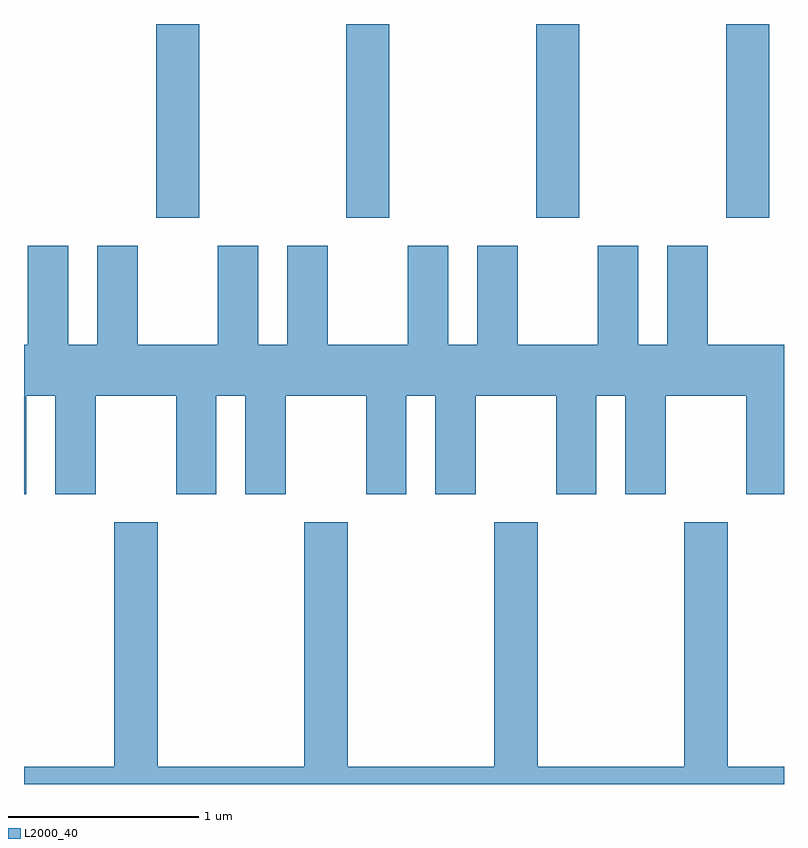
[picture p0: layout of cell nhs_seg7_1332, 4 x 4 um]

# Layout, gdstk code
import gdstk
lib = gdstk.Library(unit=1e-6, precision=1e-09)
def R(c, l, rs):  # rectangles x0, y0, x1, y1
    for r in rs: c.add(gdstk.rectangle(r[:2], r[2:], *l))
def A(c, l, x, y, w, h, nx, ny, dx, dy):  # array of equal rectangles
    R(c, l, [(x+i*dx, y+j*dy, x+i*dx+w, y+j*dy+h) for i in range(nx) for j in range(ny)])
def P(c, l, *ps):  # polygons
    for p in ps: c.add(gdstk.Polygon(p, *l))
L2000_40 = (2000, 40)

nhs_seg7_1332 = lib.new_cell('nhs_seg7_1332')
A(nhs_seg7_1332, L2000_40, 226.306, 1735.231, 0.228, 1.021, 4, 1, 1, 0)
P(nhs_seg7_1332, L2000_40, [(225.624,1734.296),(225.776,1734.296),(225.776,1733.776),(225.989,1733.776),(225.989,1734.296),(226.411,1734.296),(226.411,1733.776),(226.624,1733.776),(226.624,1734.296),(226.776,1734.296),(226.776,1733.776),(226.989,1733.776),(226.989,1734.296),(227.411,1734.296),(227.411,1733.776),(227.624,1733.776),(227.624,1734.296),(227.776,1734.296),(227.776,1733.776),(227.989,1733.776),(227.989,1734.296),(228.411,1734.296),(228.411,1733.776),(228.624,1733.776),(228.624,1734.296),(228.776,1734.296),(228.776,1733.776),(228.989,1733.776),(228.989,1734.296),(229.411,1734.296),(229.411,1733.776),(229.611,1733.776),(229.611,1734.564),(229.209,1734.564),(229.209,1735.084),(228.996,1735.084),(228.996,1734.564),(228.844,1734.564),(228.844,1735.084),(228.631,1735.084),(228.631,1734.564),(228.209,1734.564),(228.209,1735.084),(227.996,1735.084),(227.996,1734.564),(227.844,1734.564),(227.844,1735.084),(227.631,1735.084),(227.631,1734.564),(227.209,1734.564),(227.209,1735.084),(226.996,1735.084),(226.996,1734.564),(226.844,1734.564),(226.844,1735.084),(226.631,1735.084),(226.631,1734.564),(226.209,1734.564),(226.209,1735.084),(225.996,1735.084),(225.996,1734.564),(225.844,1734.564),(225.844,1735.084),(225.631,1735.084),(225.631,1734.564),(225.611,1734.564),(225.611,1733.776),(225.624,1733.776)],
  [(229.611,1732.344),(229.314,1732.344),(229.314,1733.629),(229.086,1733.629),(229.086,1732.344),(228.314,1732.344),(228.314,1733.629),(228.086,1733.629),(228.086,1732.344),(227.314,1732.344),(227.314,1733.629),(227.086,1733.629),(227.086,1732.344),(226.314,1732.344),(226.314,1733.629),(226.086,1733.629),(226.086,1732.344),(225.611,1732.344),(225.611,1732.252),(229.611,1732.252)])

lib.write_gds('nhs_seg7_1332.gds')
